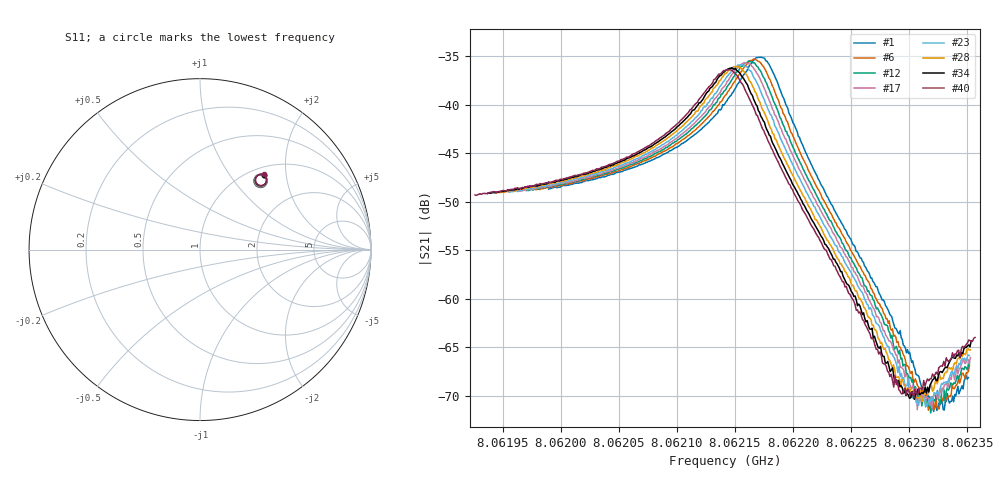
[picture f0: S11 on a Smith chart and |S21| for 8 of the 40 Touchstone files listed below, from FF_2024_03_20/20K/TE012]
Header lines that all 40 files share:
#  HZ  S  RI  R  50.00
! Rohde & Schwarz Vector Network Analyzer
! Rohde-Schwarz,ZNB20-2Port,1311601062101988,3.16
! freq[Hz]  re:S11  im:S11  re:S21  im:S21  re:S12  im:S12  re:S22  im:S22
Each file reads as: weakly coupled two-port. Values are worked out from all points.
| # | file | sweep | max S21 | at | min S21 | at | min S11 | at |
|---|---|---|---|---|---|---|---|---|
| 1 | 120_2_16.9999_20.5120468_31016.289_324.29924631118774_.s2p | 8.0619896 GHz to 8.0623509 GHz | -35.14 dB | 8.062172 GHz | -71.6 dB | 8.0623211 GHz | -6.1 dB | 8.0621738 GHz |
| 2 | 121_2_16.9998_20.5075474_31246.49_326.693238735199_.s2p | 8.0619869 GHz to 8.0623521 GHz | -35.12 dB | 8.0621714 GHz | -71.3 dB | 8.0623256 GHz | -6.1 dB | 8.0621732 GHz |
| 3 | 122_2_16.9997_20.5043926_32066.918_335.00656151771545_.s2p | 8.0619896 GHz to 8.0623488 GHz | -35.25 dB | 8.0621701 GHz | -71.6 dB | 8.0623246 GHz | -6.0 dB | 8.0621719 GHz |
| 4 | 123_2_16.9991_20.490406_32317.6_337.51884746551514_.s2p | 8.0619801 GHz to 8.0623531 GHz | -35.25 dB | 8.0621685 GHz | -71.3 dB | 8.0623251 GHz | -6.0 dB | 8.0621703 GHz |
| 5 | 124_2_16.9996_20.4856472_32578.295_339.9719433784485_.s2p | 8.0619819 GHz to 8.0623499 GHz | -35.35 dB | 8.0621677 GHz | -71.3 dB | 8.0623204 GHz | -6.0 dB | 8.0621696 GHz |
| 6 | 125_2_16.9997_20.4830647_32809.109_342.3651297092438_.s2p | 8.0619786 GHz to 8.0623519 GHz | -35.32 dB | 8.0621662 GHz | -71.5 dB | 8.0623164 GHz | -6.0 dB | 8.062169 GHz |
| 7 | 126_2_17.0004_20.4779415_33070.664_344.7834994792938_.s2p | 8.0619775 GHz to 8.0623515 GHz | -35.39 dB | 8.0621664 GHz | -71.3 dB | 8.0623197 GHz | -6.0 dB | 8.0621682 GHz |
| 8 | 127_2_16.9999_20.4734554_33291.469_347.19582772254944_.s2p | 8.0619757 GHz to 8.0623521 GHz | -35.41 dB | 8.0621649 GHz | -71.2 dB | 8.062323 GHz | -6.0 dB | 8.0621677 GHz |
| 9 | 128_2_16.9996_20.4705086_33522.145_349.6293852329254_.s2p | 8.0619724 GHz to 8.0623535 GHz | -35.42 dB | 8.0621649 GHz | -71.3 dB | 8.0623221 GHz | -6.0 dB | 8.0621677 GHz |
| 10 | 129_2_16.9993_20.4657936_33773.043_352.03533577919006_.s2p | 8.0619734 GHz to 8.0623518 GHz | -35.50 dB | 8.0621626 GHz | -71.3 dB | 8.0623216 GHz | -6.0 dB | 8.0621664 GHz |
| 11 | 130_2_16.9999_20.4617462_34013.473_354.46730160713196_.s2p | 8.0619706 GHz to 8.062353 GHz | -35.48 dB | 8.0621628 GHz | -71.0 dB | 8.0623167 GHz | -6.0 dB | 8.0621657 GHz |
| 12 | 131_2_16.9993_20.458437_34244.199_356.87825655937195_.s2p | 8.0619704 GHz to 8.0623518 GHz | -35.51 dB | 8.0621621 GHz | -71.7 dB | 8.0623185 GHz | -6.0 dB | 8.0621649 GHz |
| 13 | 132_2_16.9998_20.4553604_34525.313_359.3183195590973_.s2p | 8.0619715 GHz to 8.0623498 GHz | -35.58 dB | 8.0621606 GHz | -71.2 dB | 8.0623148 GHz | -6.0 dB | 8.0621644 GHz |
| 14 | 133_2_16.9984_20.4527531_34735.965_361.72952032089233_.s2p | 8.061969 GHz to 8.062351 GHz | -35.63 dB | 8.06216 GHz | -71.1 dB | 8.0623176 GHz | -6.0 dB | 8.0621638 GHz |
| 15 | 134_2_16.9995_20.4481773_34986.629_364.1737394332886_.s2p | 8.0619672 GHz to 8.062351 GHz | -35.62 dB | 8.0621611 GHz | -70.9 dB | 8.0623203 GHz | -6.0 dB | 8.062163 GHz |
| 16 | 135_2_16.9988_20.4437027_35227.277_366.5682165622711_.s2p | 8.0619662 GHz to 8.0623501 GHz | -35.67 dB | 8.0621581 GHz | -71.0 dB | 8.0623136 GHz | -6.0 dB | 8.0621629 GHz |
| 17 | 136_2_16.9999_20.4399624_35477.984_368.98930048942566_.s2p | 8.0619631 GHz to 8.0623527 GHz | -35.68 dB | 8.0621579 GHz | -71.4 dB | 8.0623069 GHz | -6.0 dB | 8.0621618 GHz |
| 18 | 137_2_16.9987_20.4357243_35738.457_371.4177188873291_.s2p | 8.0619628 GHz to 8.0623513 GHz | -35.70 dB | 8.062158 GHz | -71.2 dB | 8.0623105 GHz | -6.0 dB | 8.0621609 GHz |
| 19 | 138_2_17.0005_20.4325886_35959.242_373.8535387516022_.s2p | 8.0619593 GHz to 8.0623531 GHz | -35.80 dB | 8.0621562 GHz | -70.9 dB | 8.0623196 GHz | -6.0 dB | 8.0621611 GHz |
| 20 | 139_2_17.0008_20.4284897_36200.152_376.2760467529297_.s2p | 8.0619538 GHz to 8.0623572 GHz | -35.81 dB | 8.0621565 GHz | -71.0 dB | 8.0623118 GHz | -6.0 dB | 8.0621605 GHz |
| 21 | 140_2_17.0_20.4246864_36430.535_378.68972182273865_.s2p | 8.0619559 GHz to 8.062354 GHz | -35.84 dB | 8.0621559 GHz | -70.8 dB | 8.0623122 GHz | -5.9 dB | 8.0621599 GHz |
| 22 | 141_2_16.9994_20.4213219_36671.711_381.12238788604736_.s2p | 8.0619557 GHz to 8.0623527 GHz | -35.80 dB | 8.0621572 GHz | -71.0 dB | 8.062315 GHz | -5.9 dB | 8.0621592 GHz |
| 23 | 142_2_16.9999_20.41716_36932.977_383.54735231399536_.s2p | 8.0619554 GHz to 8.0623516 GHz | -35.91 dB | 8.0621565 GHz | -71.1 dB | 8.062314 GHz | -5.9 dB | 8.0621585 GHz |
| 24 | 143_2_16.9996_20.4134617_37163.125_385.9690532684326_.s2p | 8.0619507 GHz to 8.0623548 GHz | -35.95 dB | 8.0621558 GHz | -71.0 dB | 8.0623154 GHz | -5.9 dB | 8.0621578 GHz |
| 25 | 144_2_17.0003_20.4092007_37404.211_388.39062213897705_.s2p | 8.061948 GHz to 8.0623567 GHz | -35.88 dB | 8.0621534 GHz | -70.8 dB | 8.0623189 GHz | -5.9 dB | 8.0621575 GHz |
| 26 | 145_2_17.0005_20.3968906_38237.117_396.402996301651_.s2p | 8.0619492 GHz to 8.062351 GHz | -36.00 dB | 8.0621531 GHz | -70.7 dB | 8.0623048 GHz | -5.9 dB | 8.0621551 GHz |
| 27 | 146_2_16.9999_20.3928032_38487.754_398.8241980075836_.s2p | 8.0619478 GHz to 8.0623515 GHz | -36.01 dB | 8.0621527 GHz | -70.8 dB | 8.0623071 GHz | -5.9 dB | 8.0621547 GHz |
| 28 | 147_2_16.9993_20.3880844_38728.688_401.2478358745575_.s2p | 8.0619449 GHz to 8.0623526 GHz | -36.05 dB | 8.0621529 GHz | -70.5 dB | 8.0623108 GHz | -5.9 dB | 8.0621539 GHz |
| 29 | 148_2_16.9996_20.3845596_38969.332_403.6663851737976_.s2p | 8.0619432 GHz to 8.0623535 GHz | -36.10 dB | 8.0621504 GHz | -70.5 dB | 8.0623022 GHz | -5.9 dB | 8.0621535 GHz |
| 30 | 149_2_16.9996_20.3800468_39199.801_406.09319162368774_.s2p | 8.0619455 GHz to 8.06235 GHz | -36.14 dB | 8.0621508 GHz | -70.6 dB | 8.0623105 GHz | -5.9 dB | 8.0621528 GHz |
| 31 | 150_2_16.9986_20.3778877_39430.777_408.5136480331421_.s2p | 8.0619378 GHz to 8.062356 GHz | -36.18 dB | 8.06215 GHz | -70.5 dB | 8.0623006 GHz | -5.9 dB | 8.0621521 GHz |
| 32 | 151_2_17.0008_20.3737068_39701.637_410.97292709350586_.s2p | 8.0619419 GHz to 8.0623509 GHz | -36.23 dB | 8.0621495 GHz | -70.6 dB | 8.0623039 GHz | -5.9 dB | 8.0621515 GHz |
| 33 | 152_2_17.0_20.3694248_39952.836_413.4026427268982_.s2p | 8.0619378 GHz to 8.0623541 GHz | -36.19 dB | 8.0621491 GHz | -70.4 dB | 8.0623 GHz | -5.9 dB | 8.0621511 GHz |
| 34 | 153_2_16.9978_20.365448_40173.188_415.8364815711975_.s2p | 8.0619371 GHz to 8.0623533 GHz | -36.21 dB | 8.0621472 GHz | -70.3 dB | 8.0623044 GHz | -5.9 dB | 8.0621493 GHz |
| 35 | 154_2_17.0001_20.3613186_40404.023_418.2506990432739_.s2p | 8.0619354 GHz to 8.0623536 GHz | -36.26 dB | 8.0621487 GHz | -70.6 dB | 8.0623055 GHz | -5.9 dB | 8.0621497 GHz |
| 36 | 155_2_17.0002_20.356842_40665.012_420.673166513443_.s2p | 8.0619322 GHz to 8.0623553 GHz | -36.30 dB | 8.0621437 GHz | -70.2 dB | 8.0622992 GHz | -5.9 dB | 8.062149 GHz |
| 37 | 156_2_17.0002_20.3526363_40895.793_423.08081555366516_.s2p | 8.061933 GHz to 8.0623527 GHz | -36.30 dB | 8.0621439 GHz | -70.3 dB | 8.0623034 GHz | -5.9 dB | 8.0621491 GHz |
| 38 | 157_2_17.0008_20.3493576_41136.383_425.52511048316956_.s2p | 8.0619309 GHz to 8.0623542 GHz | -36.36 dB | 8.0621447 GHz | -70.2 dB | 8.0623034 GHz | -5.9 dB | 8.0621489 GHz |
| 39 | 158_2_17.0003_20.3459454_41377.148_427.96241784095764_.s2p | 8.0619252 GHz to 8.0623588 GHz | -36.39 dB | 8.0621431 GHz | -70.2 dB | 8.0623035 GHz | -5.9 dB | 8.0621474 GHz |
| 40 | 159_2_16.9999_20.3407478_41658.055_430.4301161766052_.s2p | 8.0619263 GHz to 8.0623566 GHz | -36.40 dB | 8.0621436 GHz | -70.2 dB | 8.0623039 GHz | -5.9 dB | 8.0621468 GHz |
